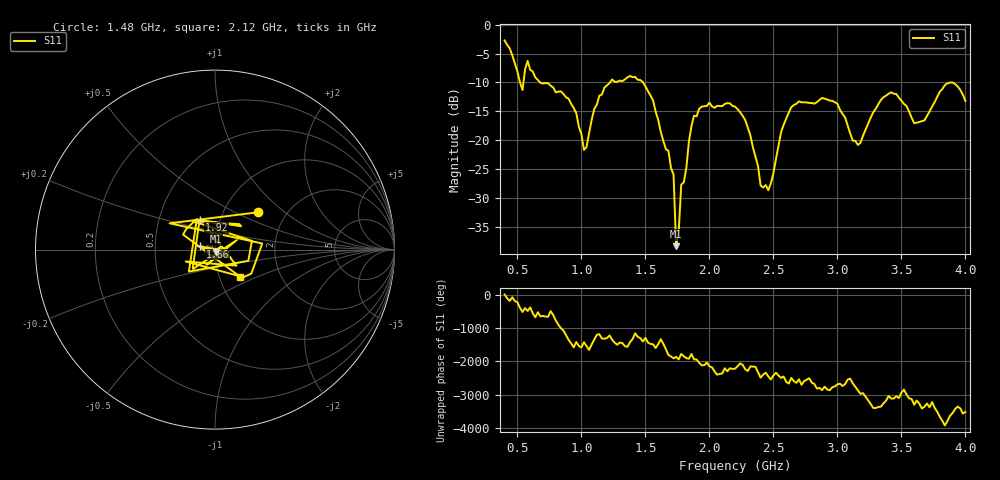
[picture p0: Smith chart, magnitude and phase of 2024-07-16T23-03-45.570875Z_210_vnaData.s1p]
!Created with skrf (http://scikit-rf.org).
# Hz S RI R 50.0
!freq ReS11 ImS11
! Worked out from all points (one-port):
!   181 points, 400 MHz to 4 GHz, reference 50 ohm
!   lowest |S11| = -38.4 dB at 1.74 GHz (marker M1), VSWR 1.02, Z = 50.6 - j1.07 ohm
!   |S11| at or under -10 dB: 520.3 MHz to 547.4 MHz (27.11 MHz wide, 5.08 % of centre); 676.4 MHz to 1.224 GHz (547.3 MHz wide, 57.6 % of centre); 1.482 GHz to end of sweep
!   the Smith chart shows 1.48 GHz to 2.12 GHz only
!   S11 on the Smith chart (normalised r, x): 1.48 GHz: 1.45, +0.67; 1.66 GHz: 0.85, +0.03; 1.92 GHz: 0.80, +0.27; 2.12 GHz: 1.26, -0.40
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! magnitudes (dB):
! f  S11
! 400 MHz  -2.7
! 540 MHz  -11.3
! 580 MHz  -6.3
! 860 MHz  -12.0
! 960 MHz  -15.3
! 1.02 GHz  -21.7
! 1.14 GHz  -12.3
! 1.3 GHz  -9.7
! 1.48 GHz  -9.9
! 1.66 GHz  -21.6
! 1.72 GHz  -26.0
! 1.74 GHz  -38.4
! 1.76 GHz  -35.9
! 1.78 GHz  -27.7
! 1.86 GHz  -17.5
! 1.92 GHz  -14.6
! 2.12 GHz  -13.7
! 2.2 GHz  -14.2
! 2.46 GHz  -28.7
! 2.66 GHz  -13.9
! 2.96 GHz  -13.2
! 3.1 GHz  -18.8
! 3.18 GHz  -20.5
! 3.42 GHz  -11.7
! 3.56 GHz  -15.1
! 3.68 GHz  -16.6
! 3.88 GHz  -10.0
! 4 GHz  -13.2
